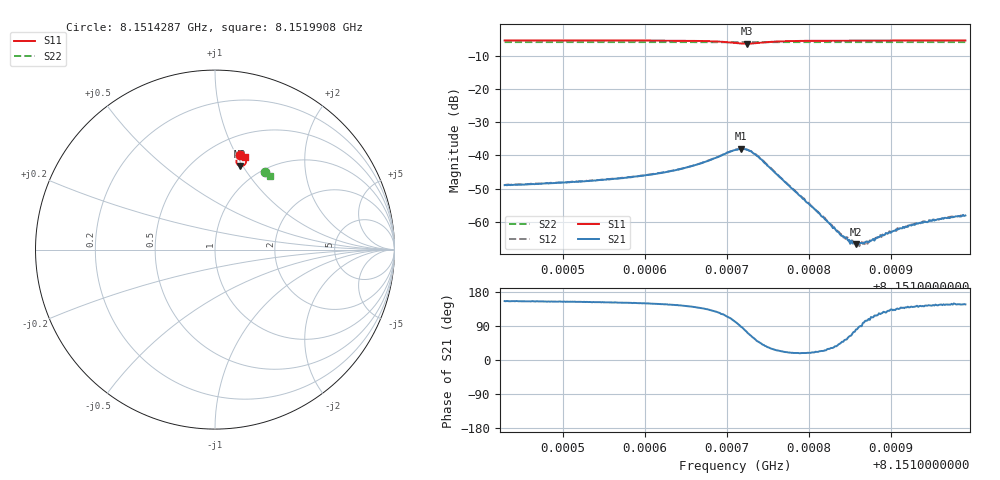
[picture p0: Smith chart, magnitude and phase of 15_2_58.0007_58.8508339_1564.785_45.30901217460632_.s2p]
#  HZ  S  RI  R  50.00
! Rohde & Schwarz Vector Network Analyzer
! Rohde-Schwarz,ZNB20-2Port,1311601062101988,3.16
! Created: UTC 3/21/2024, 12:50:56 AM
! freq[Hz]  re:S11  im:S11  re:S21  im:S21  re:S12  im:S12  re:S22  im:S22
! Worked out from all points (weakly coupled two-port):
!   401 points, 8.1514287 GHz to 8.1519908 GHz, reference 50 ohm
!   highest |S21| = -37.99 dB at 8.1517168 GHz (marker M1); lowest = -66.8 dB at 8.1518573 GHz (marker M2)
!   lowest |S11| = -6.3 dB at 8.1517238 GHz (marker M3), VSWR 2.89, Z = 39.7 + j48.5 ohm
!   |S11| at or under -10 dB: nowhere
!   |S22| runs from -5.8 to -5.8 dB; largest |S21 - S12| = 0.00028
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8.15142871e9  0.1384 0.5262  -0.00324 0.00148  -0.00324 0.00152  0.2785 0.4321
8.15152287e9  0.147 0.5234  -0.00363 0.00183  -0.00361 0.00187  0.2837 0.4286
8.15157627e9  0.1531 0.5212  -0.00404 0.00222  -0.00402 0.00231  0.2865 0.4265
8.15161702e9  0.159 0.5179  -0.00456 0.00286  -0.00454 0.00294  0.2889 0.4249
8.15164372e9  0.164 0.5142  -0.00504 0.00367  -0.00504 0.00376  0.2903 0.4237
8.1516648e9  0.1688 0.5085  -0.0055 0.00488  -0.00548 0.00498  0.2915 0.4227
8.15170977e9  0.1639 0.4717  -0.00236 0.0118  -0.00233 0.0119  0.293 0.4198
8.1517168e9  0.1523 0.4657  0.000397 0.0126  0.000351 0.0125  0.2928 0.4195
8.15172382e9  0.1378 0.4664  0.0032 0.0118  0.00337 0.0118  0.2925 0.4194
8.15173225e9  0.1242 0.4759  0.0056 0.00914  0.00585 0.00923  0.2927 0.4198
8.15174069e9  0.1188 0.4888  0.00633 0.00622  0.00646 0.00629  0.2931 0.4199
8.15176457e9  0.1261 0.5114  0.00429 0.00188  0.00438 0.00188  0.295 0.4199
8.15180392e9  0.1403 0.5196  0.00157 0.000578  0.00159 0.000551  0.2976 0.4186
8.15184046e9  0.148 0.5208  0.000403 0.000453  0.000439 0.000479  0.2997 0.4171
8.15185311e9  0.1501 0.5208  0.000159 0.000441  0.000204 0.000477  0.3003 0.4165
8.15185732e9  0.1509 0.5207  7.45e-05 0.000452  8.11e-05 0.000471  0.3007 0.4164
8.15186997e9  0.1525 0.5205  -0.000118 0.000488  -8.14e-05 0.000483  0.3013 0.416
8.15189808e9  0.1562 0.5202  -0.000443 0.00053  -0.00047 0.000542  0.3029 0.4148
8.15192478e9  0.159 0.5199  -0.000679 0.00055  -0.00068 0.000598  0.3042 0.4137
8.15194164e9  0.1607 0.5195  -0.000806 0.000595  -0.000804 0.000586  0.3052 0.413
8.15196412e9  0.1629 0.5191  -0.000935 0.000606  -0.000898 0.000654  0.3063 0.4122
8.15199082e9  0.1653 0.5185  -0.00104 0.00068  -0.00105 0.000686  0.3076 0.411
